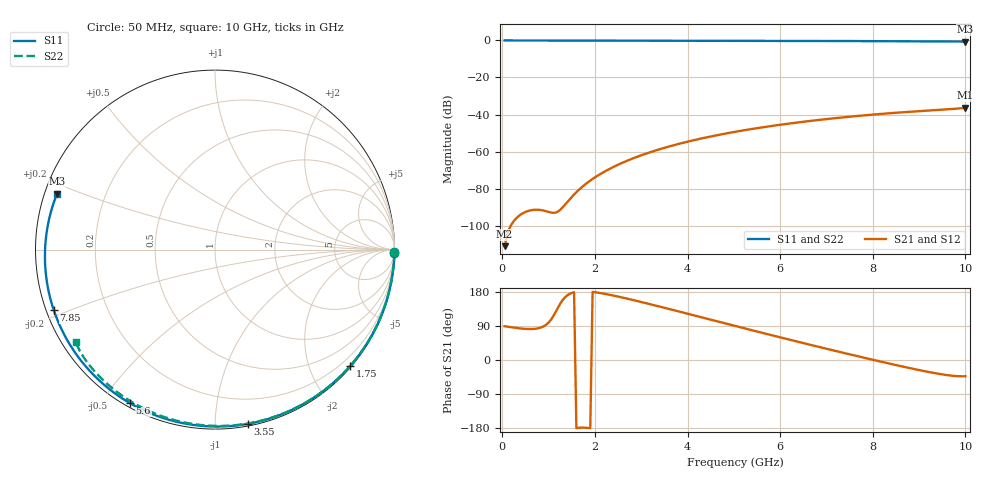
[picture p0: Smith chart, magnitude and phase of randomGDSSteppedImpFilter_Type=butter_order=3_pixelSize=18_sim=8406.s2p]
! freq	dB(S11)	phase(S11)	dB(S12)	phase(S12)
!  dB(S21)	phase(S21)	dB(S22)	phase(S22)
!S-par simulation data
#  GHz  S  DB  R 50
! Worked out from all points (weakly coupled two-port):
!   200 points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, 50 MHz to 10 GHz, reference 50 ohm
!   highest |S21| = -36.39 dB at 10 GHz (marker M1); lowest = -111.1 dB at 50 MHz (marker M2)
!   lowest |S11| = -0.6 dB at 10 GHz (marker M3), VSWR 29.11, Z = 1.77 + j8.58 ohm
!   |S11| at or under -10 dB: nowhere
!   |S22| runs from -0.6 to 0.0 dB; largest |S21 - S12| = 0
!   S11 on the Smith chart (normalised r, x): 50 MHz: 0, -96; 1.75 GHz: 0.02, -2.70; 3.55 GHz: 0.01, -1.21; 5.6 GHz: 0.01, -0.59; 7.85 GHz: 0.02, -0.18; 10 GHz: 0.04, +0.17
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0.05  -0.00 -1.2  -111.12 89.1  -111.12 89.1  -0.00 -0.8
0.8  -0.02 -18.8  -91.50 84.4  -91.50 84.4  -0.02 -13.0
1.2  -0.04 -28.1  -92.46 137.6  -92.46 137.6  -0.02 -19.5
1.65  -0.05 -38.4  -80.75 -178.9  -80.75 -178.9  -0.03 -26.6
1.7  -0.05 -39.5  -79.63 -178.5  -79.63 -178.5  -0.03 -27.4
1.75  -0.05 -40.6  -78.57 -178.5  -78.57 -178.5  -0.04 -28.2
2.05  -0.06 -47.3  -73.18 178.0  -73.18 178.0  -0.04 -33.0
2.45  -0.07 -56.1  -67.72 168.7  -67.72 168.7  -0.05 -39.2
2.9  -0.08 -65.8  -62.96 156.0  -62.96 156.0  -0.06 -46.1
3.4  -0.10 -76.2  -58.74 140.9  -58.74 140.9  -0.07 -53.7
3.55  -0.10 -79.3  -57.64 136.3  -57.64 136.3  -0.07 -55.9
4.3  -0.13 -94.3  -52.94 112.8  -52.94 112.8  -0.09 -66.9
5.05  -0.16 -108.7  -49.24 89.2  -49.24 89.2  -0.12 -77.6
5.6  -0.19 -118.9  -46.99 72.0  -46.99 72.0  -0.14 -85.2
6.7  -0.26 -138.9  -43.32 38.6  -43.32 38.6  -0.19 -100.1
7.3  -0.31 -149.6  -41.69 20.8  -41.69 20.8  -0.23 -108.0
7.85  -0.36 -159.4  -40.38 4.9  -40.38 4.9  -0.27 -115.1
8.35  -0.41 -168.4  -39.35 -9.2  -39.35 -9.2  -0.31 -121.6
8.9  -0.47 -178.5  -38.36 -24.0  -38.36 -24.0  -0.36 -128.9
9.4  -0.52 172.1  -37.56 -36.0  -37.56 -36.0  -0.42 -135.8
9.75  -0.57 165.4  -36.97 -42.0  -36.97 -42.0  -0.49 -141.4
10  -0.60 160.5  -36.39 -42.7  -36.39 -42.7  -0.62 -146.3
